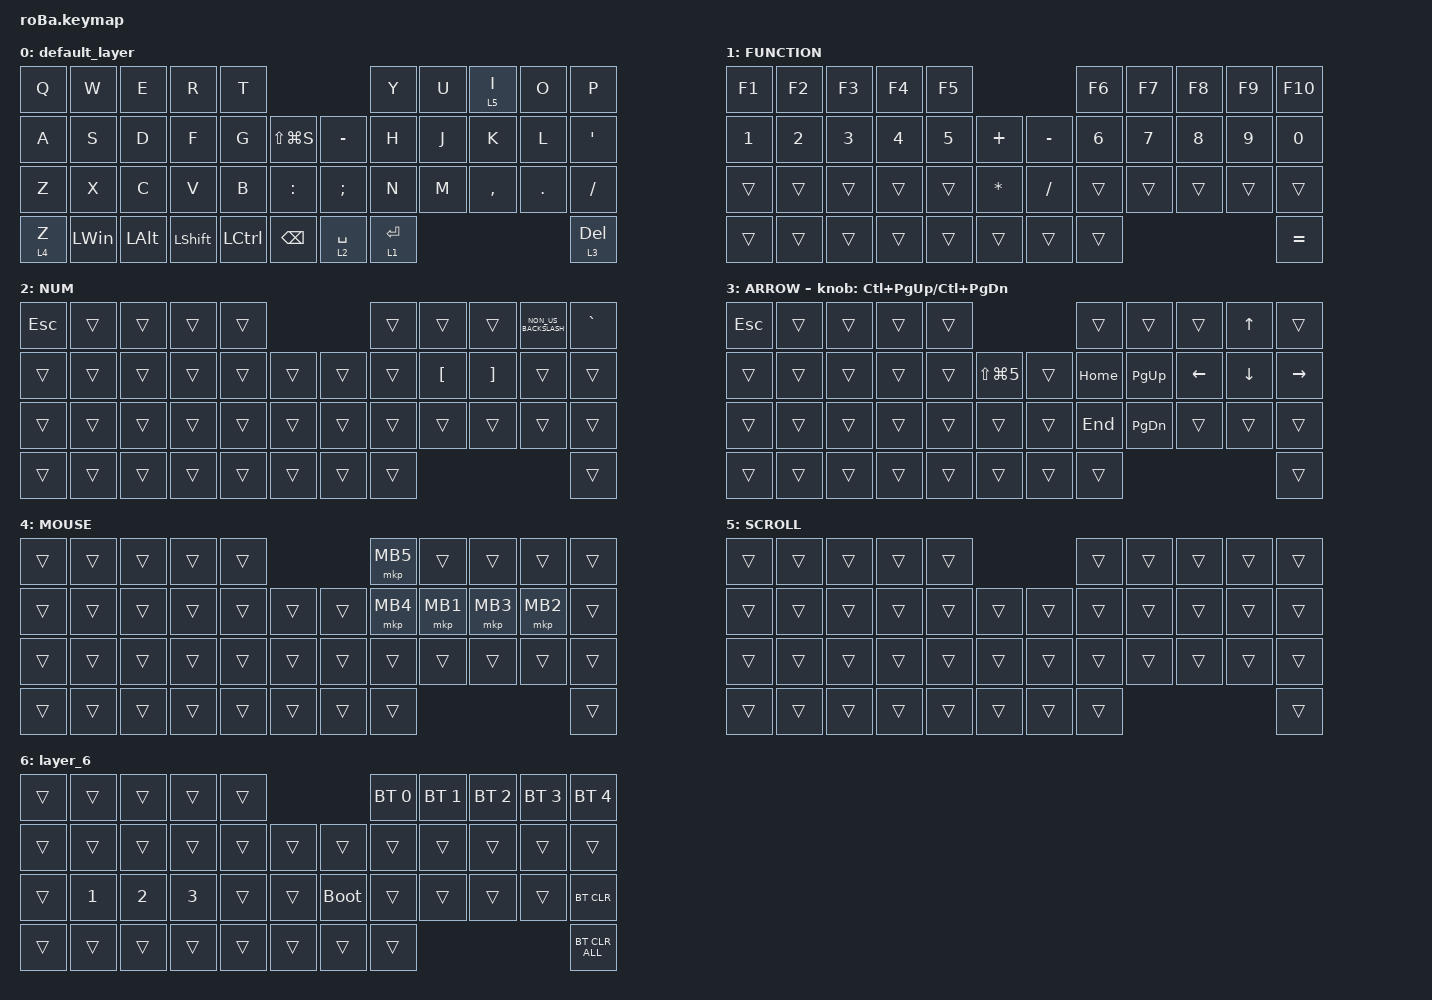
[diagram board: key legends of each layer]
#include <behaviors.dtsi>
#include <dt-bindings/zmk/bt.h>
#include <dt-bindings/zmk/keys.h>
#include <dt-bindings/zmk/pointing.h>

&mt {
    flavor = "balanced";
    quick-tap-ms = <0>;
};

&trackball {
    automouse-layer = <4>;
    scroll-layers = <5>;

    // arrows {
    //     layers = <3>;
    //     bindings =
    //         <&kp RIGHT_ARROW>,
    //         <&kp LEFT_ARROW>,
    //         <&kp UP_ARROW>,
    //         <&kp DOWN_ARROW>;
    //     tick = <10>;
    //     wait-ms = <5>;
    //     tap-ms = <5>;
    // };
};

/ {
    combos {
        compatible = "zmk,combos";

        tab {
            bindings = <&kp TAB>;
            key-positions = <11 12>;
        };

        shift_tab {
            bindings = <&kp LS(TAB)>;
            key-positions = <12 13>;
        };

        eq {
            bindings = <&kp EQUAL>;
            key-positions = <24 25>;
        };

        Escape {
            bindings = <&kp ESCAPE>;
            key-positions = <0 1>;
        };

        toBT {
            bindings = <&to 6>;
            key-positions = <39 40>;
            layers = <0>;
        };

        missioncontrol {
            bindings = <&kp LC(UP_ARROW)>;
            key-positions = <11 10>;
        };

        toDF {
            bindings = <&to 0>;
            key-positions = <39 40>;
            layers = <6>;
        };
    };

    macros {
        to_layer_0: to_layer_0 {
            compatible = "zmk,behavior-macro-one-param";
            #binding-cells = <1>;
            bindings = <&to 0 &macro_param_1to1 &kp MACRO_PLACEHOLDER>;
            label = "TO_LAYER_0";
        };
    };

    behaviors {
        lt_to_layer_0: lt_to_layer_0 {
            compatible = "zmk,behavior-hold-tap";
            label = "LAYER_TAP_TO_0";
            bindings = <&mo>, <&to_layer_0>;

            #binding-cells = <2>;
            tapping-term-ms = <200>;
        };
    };

    keymap {
        compatible = "zmk,keymap";

        default_layer {
            bindings = <
&kp Q    &kp W         &kp E         &kp R           &kp T                                        &kp Y        &kp U  &lt 5 I    &kp O    &kp P
&kp A    &kp S         &kp D         &kp F           &kp G      &kp LS(LG(S))      &kp MINUS      &kp H        &kp J  &kp K      &kp L    &kp SQT
&kp Z    &kp X         &kp C         &kp V           &kp B      &kp COLON          &kp SEMICOLON  &kp N        &kp M  &kp COMMA  &kp DOT  &kp SLASH
&lt 4 Z  &kp LEFT_WIN  &kp LEFT_ALT  &kp LEFT_SHIFT  &kp LCTRL  &kp BACKSPACE      &lt 2 SPACE    &lt 1 ENTER                             &lt 3 DELETE
            >;
        };

        FUNCTION {
            bindings = <
&kp F1  &kp F2  &kp F3  &kp F4  &kp F5                               &kp F6  &kp F7  &kp F8  &kp F9  &kp F10
&kp N1  &kp N2  &kp N3  &kp N4  &kp N5  &kp PLUS          &kp MINUS  &kp N6  &kp N7  &kp N8  &kp N9  &kp N0
&trans  &trans  &trans  &trans  &trans  &kp ASTERISK      &kp SLASH  &trans  &trans  &trans  &trans  &trans
&trans  &trans  &trans  &trans  &trans  &trans            &trans     &trans                          &kp EQUAL
            >;
        };

        NUM {
            bindings = <
&kp ESCAPE  &trans  &trans  &trans  &trans                      &trans  &trans            &trans             &kp NON_US_BACKSLASH  &kp GRAVE
&trans      &trans  &trans  &trans  &trans  &trans      &trans  &trans  &kp LEFT_BRACKET  &kp RIGHT_BRACKET  &trans                &trans
&trans      &trans  &trans  &trans  &trans  &trans      &trans  &trans  &trans            &trans             &trans                &trans
&trans      &trans  &trans  &trans  &trans  &trans      &trans  &trans                                                             &trans
            >;
        };

        ARROW {
            bindings = <
&kp ESCAPE  &trans  &trans  &trans  &trans                              &trans    &trans     &trans    &kp UP    &trans
&trans      &trans  &trans  &trans  &trans  &kp LS(LG(N5))      &trans  &kp HOME  &kp PG_UP  &kp LEFT  &kp DOWN  &kp RIGHT
&trans      &trans  &trans  &trans  &trans  &trans              &trans  &kp END   &kp PG_DN  &trans    &trans    &trans
&trans      &trans  &trans  &trans  &trans  &trans              &trans  &trans                                   &trans
            >;

            sensor-bindings = <&inc_dec_kp LC(PAGE_UP) LC(PAGE_DOWN)>;
        };

        MOUSE {
            bindings = <
&trans  &trans  &trans  &trans  &trans                      &mkp MB5  &trans    &trans    &trans    &trans
&trans  &trans  &trans  &trans  &trans  &trans      &trans  &mkp MB4  &mkp MB1  &mkp MB3  &mkp MB2  &trans
&trans  &trans  &trans  &trans  &trans  &trans      &trans  &trans    &trans    &trans    &trans    &trans
&trans  &trans  &trans  &trans  &trans  &trans      &trans  &trans                                  &trans
            >;
        };

        SCROLL {
            bindings = <
&trans  &trans  &trans  &trans  &trans                      &trans  &trans  &trans  &trans  &trans
&trans  &trans  &trans  &trans  &trans  &trans      &trans  &trans  &trans  &trans  &trans  &trans
&trans  &trans  &trans  &trans  &trans  &trans      &trans  &trans  &trans  &trans  &trans  &trans
&trans  &trans  &trans  &trans  &trans  &trans      &trans  &trans                          &trans
            >;
        };

        layer_6 {
            bindings = <
&trans  &trans        &trans        &trans        &trans                           &bt BT_SEL 0  &bt BT_SEL 1  &bt BT_SEL 2  &bt BT_SEL 3  &bt BT_SEL 4
&trans  &trans        &trans        &trans        &trans  &trans      &trans       &trans        &trans        &trans        &trans        &trans
&trans  &kp NUMBER_1  &kp NUMBER_2  &kp NUMBER_3  &trans  &trans      &bootloader  &trans        &trans        &trans        &trans        &bt BT_CLR
&trans  &trans        &trans        &trans        &trans  &trans      &trans       &trans                                                  &bt BT_CLR_ALL
            >;
        };
    };
};
